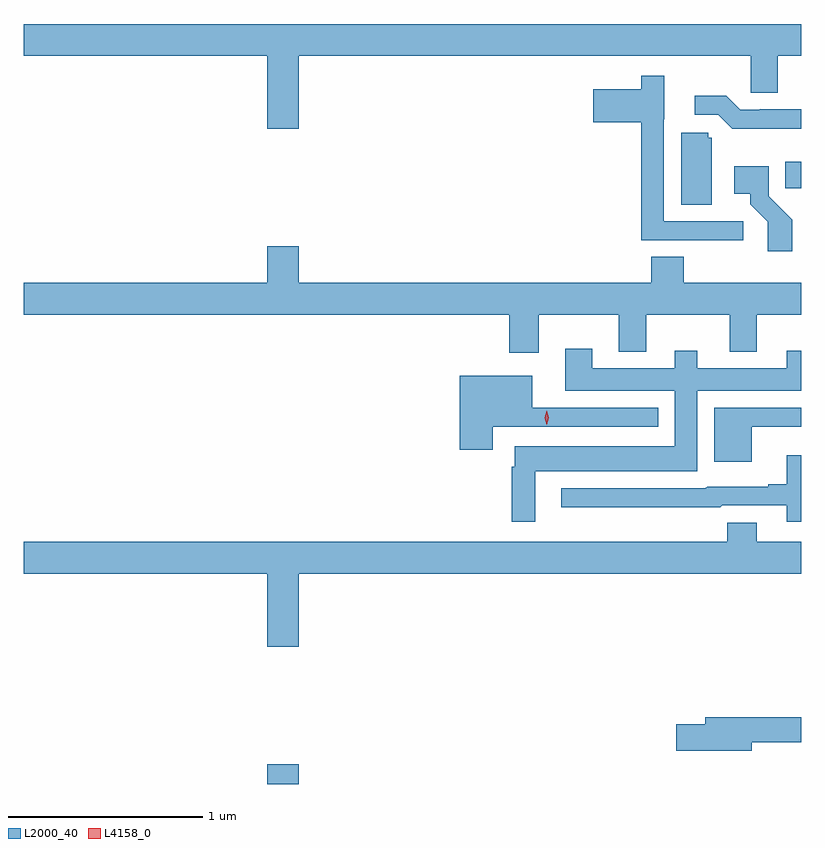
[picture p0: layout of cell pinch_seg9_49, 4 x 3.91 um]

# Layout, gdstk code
import gdstk
lib = gdstk.Library(unit=1e-6, precision=1e-09)
def R(c, l, rs):  # rectangles x0, y0, x1, y1
    for r in rs: c.add(gdstk.rectangle(r[:2], r[2:], *l))
def P(c, l, *ps):  # polygons
    for p in ps: c.add(gdstk.Polygon(p, *l))
L2000_40 = (2000, 40)
L4158_0 = (4158, 0)

pinch_seg9_49 = lib.new_cell('pinch_seg9_49')
R(pinch_seg9_49, L2000_40, [(920.252,1195.339,920.416,1195.441), (922.918,1198.402,923,1198.54)])
P(pinch_seg9_49, L2000_40, [(920.416,1199.084),(922.74,1199.084),(922.74,1198.894),(922.879,1198.894),(922.879,1199.084),(923,1199.084),(923,1199.248),(919,1199.248),(919,1199.084),(920.252,1199.084),(920.252,1198.71),(920.416,1198.71)],
  [(922.702,1198.233),(922.293,1198.233),(922.293,1198.758),(922.294,1198.758),(922.294,1198.981),(922.177,1198.981),(922.177,1198.912),(921.93,1198.912),(921.93,1198.742),(922.177,1198.742),(922.177,1198.137),(922.477,1198.137),(922.477,1198.135),(922.702,1198.135)],
  [(922.744,1198.71),(923,1198.71),(923,1198.809),(922.786,1198.809),(922.786,1198.806),(922.686,1198.806),(922.613,1198.879),(922.452,1198.879),(922.452,1198.782),(922.572,1198.782),(922.645,1198.709),(922.744,1198.709)],
  [(922.54,1198.662),(922.521,1198.662),(922.521,1198.689),(922.382,1198.689),(922.382,1198.318),(922.54,1198.318)],
  [(922.952,1198.242),(922.833,1198.361),(922.833,1198.516),(922.656,1198.516),(922.656,1198.376),(922.736,1198.376),(922.736,1198.321),(922.827,1198.231),(922.827,1198.08),(922.952,1198.08)],
  [(921.649,1197.752),(922.061,1197.752),(922.061,1197.563),(922.201,1197.563),(922.201,1197.752),(922.631,1197.752),(922.631,1197.563),(922.771,1197.563),(922.771,1197.752),(923,1197.752),(923,1197.916),(922.394,1197.916),(922.394,1198.052),(922.229,1198.052),(922.229,1197.916),(920.416,1197.916),(920.416,1198.105),(920.252,1198.105),(920.252,1197.916),(919,1197.916),(919,1197.752),(921.497,1197.752),(921.497,1197.558),(921.649,1197.558)],
  [(921.631,1196.948),(922.465,1196.948),(922.465,1197.362),(923,1197.362),(923,1197.568),(922.925,1197.568),(922.925,1197.478),(922.465,1197.478),(922.465,1197.568),(922.349,1197.568),(922.349,1197.478),(921.925,1197.478),(921.925,1197.577),(921.785,1197.577),(921.785,1197.362),(922.349,1197.362),(922.349,1197.076),(921.527,1197.076),(921.527,1196.972),(921.51,1196.972),(921.51,1196.688),(921.631,1196.688)],
  [(921.412,1197.177),(922.264,1197.177),(922.264,1197.273),(921.616,1197.273),(921.616,1197.439),(921.242,1197.439),(921.242,1197.057),(921.412,1197.057)],
  [(922.744,1197.176),(923,1197.176),(923,1197.273),(922.553,1197.273),(922.553,1196.996),(922.744,1196.996)],
  [(923,1197.031),(922.925,1197.031),(922.925,1196.881),(922.829,1196.881),(922.829,1196.868),(922.515,1196.868),(922.506,1196.859),(921.765,1196.859),(921.765,1196.762),(922.583,1196.762),(922.593,1196.772),(922.925,1196.772),(922.925,1196.688),(923,1196.688)],
  [(920.416,1196.42),(923,1196.42),(923,1196.584),(922.771,1196.584),(922.771,1196.683),(922.619,1196.683),(922.619,1196.584),(919,1196.584),(919,1196.42),(920.252,1196.42),(920.252,1196.046),(920.416,1196.046)],
  [(922.744,1195.554),(923,1195.554),(923,1195.682),(922.505,1195.682),(922.505,1195.646),(922.356,1195.646),(922.356,1195.511),(922.744,1195.511)])
P(pinch_seg9_49, L4158_0, [(921.69,1197.187),(921.69,1197.188),(921.681,1197.224),(921.691,1197.259),(921.691,1197.26),(921.691,1197.259),(921.701,1197.224),(921.691,1197.188)])

lib.write_gds('pinch_seg9_49.gds')
